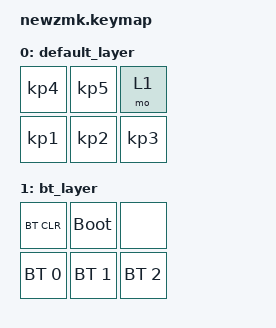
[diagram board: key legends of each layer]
#include <behaviors.dtsi>
#include <dt-bindings/zmk/keys.h>
#include <dt-bindings/zmk/bt.h>

/ {  
    keymap {
        compatible = "zmk,keymap";

        default_layer {
            bindings = <
                &kp KP_N4     &kp KP_N5     &mo 1
                &kp KP_N1     &kp KP_N2     &kp KP_N3
            >;
        }; 
        
        bt_layer {
            bindings = <
                &bt BT_CLR            &bootloader      &none
                &bt BT_SEL 0     &bt BT_SEL 1     &bt BT_SEL 2
            >;
        };
    };
};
